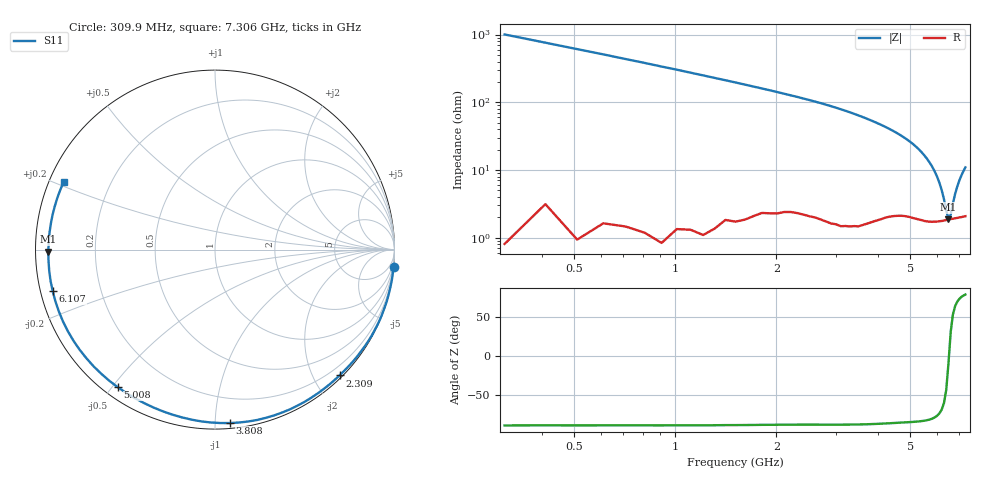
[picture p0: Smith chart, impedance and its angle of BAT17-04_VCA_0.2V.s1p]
! Infineon Technologies  Discrete & RF Semiconductors
! BAT17-04
! VCA = 0.2 V
! One-Port S-Parameters
# Hz  S  MA  R  50
!f  S11
!Hz  Mag  Ang
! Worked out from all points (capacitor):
!   71 points, 309.9 MHz to 7.306 GHz, reference 50 ohm
!   read as one part to ground: C = 510 fF near 309.9 MHz
!   lowest |Z| = 1.87 ohm at 6.507 GHz (marker M1)
!   series resonance near 6.528 GHz, so ESL is about 1.2 nH
!   S11 on the Smith chart (normalised r, x): 309.9 MHz: 0, -20; 2.309 GHz: 0.05, -2.40; 3.808 GHz: 0.03, -1.09; 5.008 GHz: 0.04, -0.52; 6.107 GHz: 0.03, -0.13; 7.306 GHz: 0.04, +0.21
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3.0985e8  0.9999 -5.7
8.096e8  0.9992 -14.9
1.2094e9  0.9983 -22.7
1.6092e9  0.9949 -30.6
2.10895e9  0.9883 -41.0
2.30885e9  0.9864 -45.3
2.70865e9  0.9846 -54.5
3.0085e9  0.9834 -62.1
3.2084e9  0.9819 -67.4
3.4083e9  0.9792 -73.1
3.6082e9  0.9755 -79.0
3.8081e9  0.9699 -85.2
4.008e9  0.9635 -91.4
4.2079e9  0.9563 -97.9
4.50775e9  0.9468 -107.8
4.70765e9  0.942 -114.7
5.0075e9  0.9387 -125.2
5.30735e9  0.9383 -136.1
5.6072e9  0.9378 -147.3
5.70715e9  0.9375 -151.0
5.90705e9  0.9357 -158.3
6.10695e9  0.9336 -165.6
6.30685e9  0.9313 -172.5
6.50675e9  0.9288 -179.3
6.70665e9  0.9268 174.2
6.90655e9  0.9256 167.9
7.10645e9  0.9245 161.7
7.30635e9  0.9237 155.8
